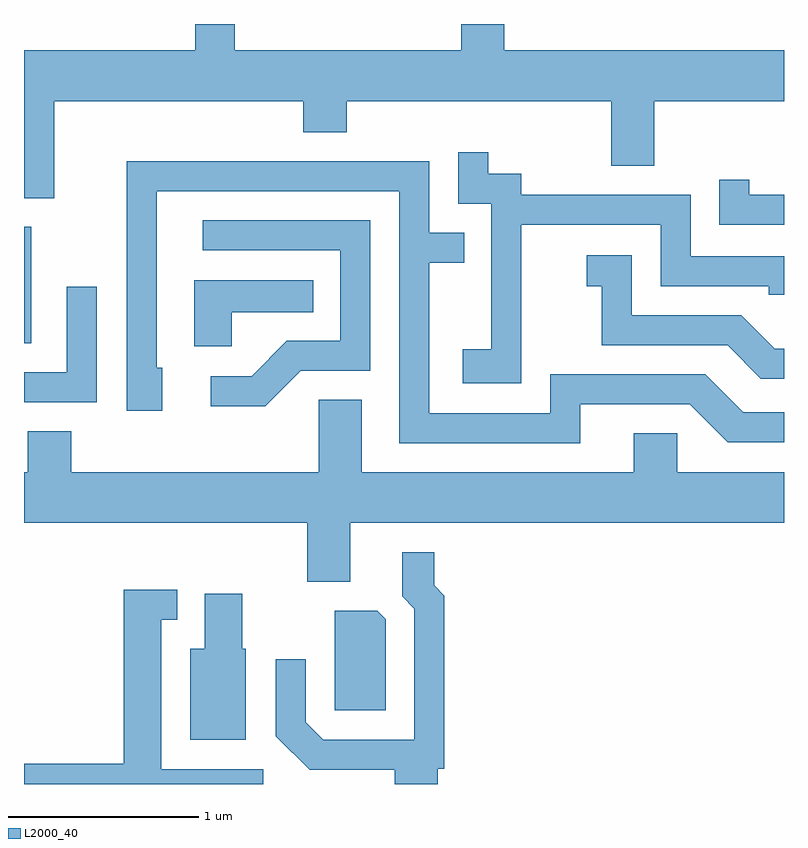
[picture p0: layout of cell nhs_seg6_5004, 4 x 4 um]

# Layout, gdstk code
import gdstk
lib = gdstk.Library(unit=1e-6, precision=1e-09)
def R(c, l, rs):  # rectangles x0, y0, x1, y1
    for r in rs: c.add(gdstk.rectangle(r[:2], r[2:], *l))
def P(c, l, *ps):  # polygons
    for p in ps: c.add(gdstk.Polygon(p, *l))
L2000_40 = (2000, 40)

nhs_seg6_5004 = lib.new_cell('nhs_seg6_5004')
R(nhs_seg6_5004, L2000_40, [(337.611,1606.481,337.649,1607.094)])
P(nhs_seg6_5004, L2000_40, [(337.769,1607.756),(339.081,1607.756),(339.081,1607.591),(339.309,1607.591),(339.309,1607.756),(340.701,1607.756),(340.701,1607.416),(340.929,1607.416),(340.929,1607.756),(341.611,1607.756),(341.611,1608.024),(340.139,1608.024),(340.139,1608.162),(339.911,1608.162),(339.911,1608.024),(338.719,1608.024),(338.719,1608.162),(338.511,1608.162),(338.511,1608.024),(337.611,1608.024),(337.611,1607.246),(337.769,1607.246)],
  [(340.229,1607.106),(340.961,1607.106),(340.961,1606.781),(341.531,1606.781),(341.531,1606.736),(341.611,1606.736),(341.611,1606.939),(341.119,1606.939),(341.119,1607.264),(340.229,1607.264),(340.229,1607.374),(340.054,1607.374),(340.054,1607.488),(339.896,1607.488),(339.896,1607.216),(340.071,1607.216),(340.071,1606.449),(339.921,1606.449),(339.921,1606.271),(340.229,1606.271)],
  [(340.539,1606.161),(341.114,1606.161),(341.314,1605.961),(341.611,1605.961),(341.611,1606.119),(341.397,1606.119),(341.197,1606.319),(340.381,1606.319),(340.381,1606.114),(339.744,1606.114),(339.744,1606.906),(339.928,1606.906),(339.928,1607.064),(339.744,1607.064),(339.744,1607.439),(338.151,1607.439),(338.151,1606.126),(338.339,1606.126),(338.339,1606.354),(338.309,1606.354),(338.309,1607.281),(339.586,1607.281),(339.586,1605.956),(340.539,1605.956)],
  [(341.611,1607.264),(341.429,1607.264),(341.429,1607.343),(341.271,1607.343),(341.271,1607.106),(341.611,1607.106)],
  [(339.067,1606.336),(339.434,1606.336),(339.434,1607.129),(338.553,1607.129),(338.553,1606.971),(339.276,1606.971),(339.276,1606.494),(338.994,1606.494),(338.809,1606.309),(338.593,1606.309),(338.593,1606.151),(338.882,1606.151)],
  [(341.611,1606.454),(341.562,1606.454),(341.387,1606.629),(340.809,1606.629),(340.809,1606.944),(340.573,1606.944),(340.573,1606.781),(340.651,1606.781),(340.651,1606.471),(341.314,1606.471),(341.489,1606.296),(341.611,1606.296)],
  [(338.704,1606.646),(339.133,1606.646),(339.133,1606.814),(338.506,1606.814),(338.506,1606.466),(338.704,1606.466)],
  [(337.994,1606.778),(337.836,1606.778),(337.836,1606.329),(337.611,1606.329),(337.611,1606.171),(337.994,1606.171)],
  [(339.329,1605.536),(341.611,1605.536),(341.611,1605.804),(341.049,1605.804),(341.049,1606.009),(340.821,1606.009),(340.821,1605.804),(339.389,1605.804),(339.389,1606.184),(339.161,1606.184),(339.161,1605.804),(337.859,1605.804),(337.859,1606.019),(337.631,1606.019),(337.631,1605.804),(337.611,1605.804),(337.611,1605.536),(339.101,1605.536),(339.101,1605.226),(339.329,1605.226)],
  [(339.789,1604.241),(339.824,1604.241),(339.824,1605.152),(339.769,1605.207),(339.769,1605.383),(339.601,1605.383),(339.601,1605.149),(339.666,1605.084),(339.666,1604.394),(339.187,1604.394),(339.094,1604.487),(339.094,1604.818),(338.936,1604.818),(338.936,1604.414),(339.114,1604.236),(339.561,1604.236),(339.561,1604.162),(339.789,1604.162)],
  [(338.869,1604.239),(338.334,1604.239),(338.334,1605.026),(338.418,1605.026),(338.418,1605.184),(338.136,1605.184),(338.136,1604.269),(337.611,1604.269),(337.611,1604.162),(338.869,1604.162)],
  [(338.779,1604.874),(338.759,1604.874),(338.759,1605.164),(338.561,1605.164),(338.561,1604.874),(338.486,1604.874),(338.486,1604.396),(338.779,1604.396)],
  [(339.514,1605.029),(339.469,1605.074),(339.246,1605.074),(339.246,1604.551),(339.514,1604.551)])

lib.write_gds('nhs_seg6_5004.gds')
